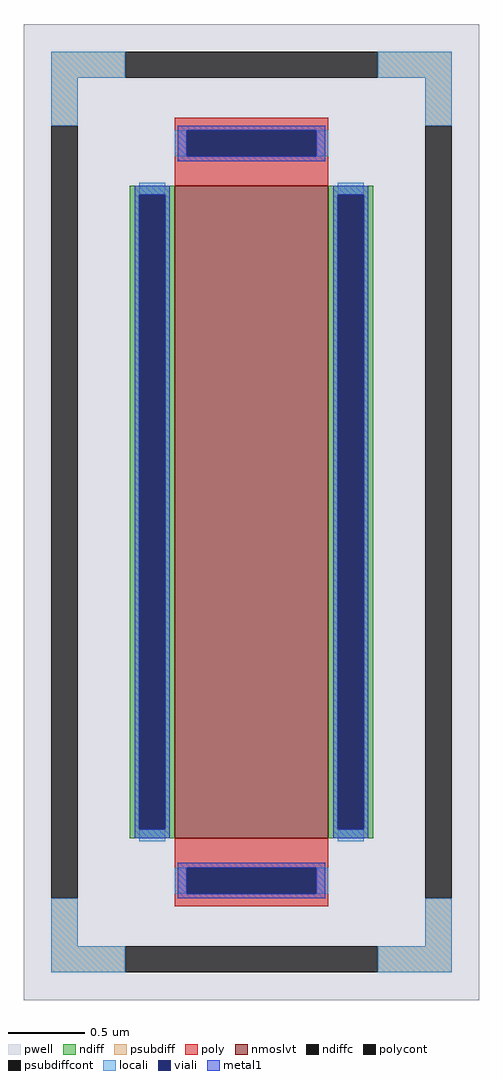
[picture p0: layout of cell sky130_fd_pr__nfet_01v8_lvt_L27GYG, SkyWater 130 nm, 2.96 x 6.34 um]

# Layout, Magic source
magic
tech sky130A
<< pwell >>
rect -148 -317 148 317
<< nmoslvt >>
rect -50 -212 50 212
<< ndiff >>
rect -79 206 -50 212
rect -79 -206 -73 206
rect -56 -206 -50 206
rect -79 -212 -50 -206
rect 50 206 79 212
rect 50 -206 56 206
rect 73 -206 79 206
rect 50 -212 79 -206
<< ndiffc >>
rect -73 -206 -56 206
rect 56 -206 73 206
<< psubdiff >>
rect -130 282 -82 299
rect 82 282 130 299
rect -130 251 -113 282
rect 113 251 130 282
rect -130 -282 -113 -251
rect 113 -282 130 -251
rect -130 -299 -82 -282
rect 82 -299 130 -282
<< psubdiffcont >>
rect -82 282 82 299
rect -130 -251 -113 251
rect 113 -251 130 251
rect -82 -299 82 -282
<< poly >>
rect -50 248 50 256
rect -50 231 -42 248
rect 42 231 50 248
rect -50 212 50 231
rect -50 -231 50 -212
rect -50 -248 -42 -231
rect 42 -248 50 -231
rect -50 -256 50 -248
<< polycont >>
rect -42 231 42 248
rect -42 -248 42 -231
<< locali >>
rect -130 282 -82 299
rect 82 282 130 299
rect -130 251 -113 282
rect 113 251 130 282
rect -50 231 -42 248
rect 42 231 50 248
rect -73 206 -56 214
rect -73 -214 -56 -206
rect 56 206 73 214
rect 56 -214 73 -206
rect -50 -248 -42 -231
rect 42 -248 50 -231
rect -130 -282 -113 -251
rect 113 -282 130 -251
rect -130 -299 -82 -282
rect 82 -299 130 -282
<< viali >>
rect -42 231 42 248
rect -73 -206 -56 206
rect 56 -206 73 206
rect -42 -248 42 -231
<< metal1 >>
rect -48 248 48 251
rect -48 231 -42 248
rect 42 231 48 248
rect -48 228 48 231
rect -76 206 -53 212
rect -76 -206 -73 206
rect -56 -206 -53 206
rect -76 -212 -53 -206
rect 53 206 76 212
rect 53 -206 56 206
rect 73 -206 76 206
rect 53 -212 76 -206
rect -48 -231 48 -228
rect -48 -248 -42 -231
rect 42 -248 48 -231
rect -48 -251 48 -248
<< properties >>
string FIXED_BBOX -121 -290 121 290
string gencell sky130_fd_pr__nfet_01v8_lvt
string library sky130
string parameters w 4.24 l 1.0 m 1 nf 1 diffcov 100 polycov 100 guard 1 glc 1 grc 1 gtc 1 gbc 1 tbcov 100 rlcov 100 topc 1 botc 1 poverlap 0 doverlap 1 lmin 0.15 wmin 0.42 compatible {sky130_fd_pr__nfet_01v8 sky130_fd_pr__nfet_01v8_lvt  sky130_fd_bs_flash__special_sonosfet_star  sky130_fd_pr__nfet_g5v0d10v5 sky130_fd_pr__nfet_05v0_nvt  sky130_fd_pr__nfet_03v3_nvt} full_metal 1 viasrc 100 viadrn 100 viagate 100 viagb 0 viagr 0 viagl 0 viagt 0
<< end >>
